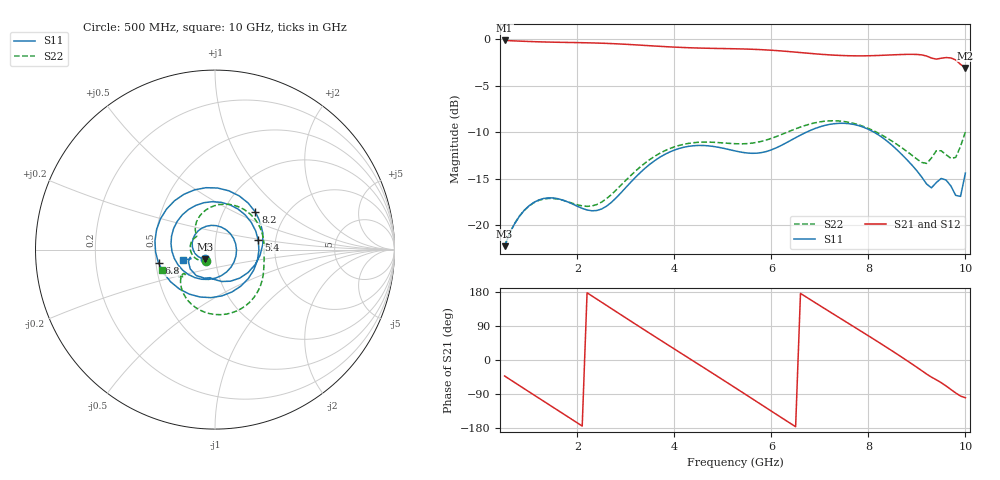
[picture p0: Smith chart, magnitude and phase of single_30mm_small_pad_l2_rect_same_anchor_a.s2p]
! Touchstone file exported from HFSS 3D Layout Design 2026.1.0
!  File:  D:/Work/ADS/HFSS_VERDICT/hfss_sma_connector_cpw.aedt
!  Generated:  03:23:28 PM Aug  5, 2026
!  Design:  SINGLE_END_SMA_CPW_30MM
!  Project:  hfss_sma_connector_cpw
! Variables:
!  $sma_Base_D = 6.25mm
!  $sma_Base_L = 8mm
!  $sma_Feet_L = 4mm
!  $sma_Feet_W = 1mm
!  $sma_Front_L = 1.5mm
!  $sma_Front_W = 6.5mm
!  $sma_Hole_D = 1.25mm
!  $sma_PTFE_D = 4.2mm
!  $sma_Pin_D = 0.95mm
!  $sma_Pin_P = 1.7mm
# GHz S MA R 50.000000
! Terminal data exported
! Port[1] = Port1
! Port[2] = S1_1_Pin_T1
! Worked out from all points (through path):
!   96 points, 500 MHz to 10 GHz, reference 50 ohm
!   highest |S21| = -0.11 dB at 500 MHz (marker M1); lowest = -3.1 dB at 10 GHz (marker M2)
!   group delay of S21, straight-line fit = 227 ps
!   lowest |S11| = -22.3 dB at 500 MHz (marker M3), VSWR 1.17, Z = 44.4 - j4.6 ohm
!   |S11| at or under -10 dB: start of sweep to 6.718 GHz; 8.118 GHz to end of sweep
!   |S22| runs from -22.2 to -8.8 dB; largest |S21 - S12| = 1.7e-14
!   S11 on the Smith chart (normalised r, x): 500 MHz: 0.89, -0.09; 5.4 GHz: 1.62, +0.18; 6.8 GHz: 0.52, -0.09; 8.2 GHz: 1.41, +0.65; 10 GHz: 0.69, -0.09
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0.5  0.0771 -138.0  0.9869 -42.2  0.9869 -42.2  0.07763 -128.1
1.2  0.1366 153.4  0.9705 -100.1  0.9705 -100.1  0.1358 -176.1
1.7  0.1365 98.7  0.9638 -141.3  0.9638 -141.3  0.1362 157.7
2.1  0.1232 45.8  0.9598 -174.3  0.9598 -174.3  0.127 146.0
2.5  0.1222 -16.6  0.9538 152.5  0.9538 152.5  0.1331 141.2
3  0.1596 -89.7  0.9409 111.0  0.9409 111.0  0.1744 128.3
3.7  0.2321 -167.9  0.9176 53.5  0.9176 53.5  0.2438 91.2
4.1  0.2588 152.8  0.9062 20.9  0.9062 20.9  0.2688 66.7
4.5  0.2686 113.4  0.8984 -11.6  0.8984 -11.6  0.2794 42.7
5.3  0.2494 24.8  0.8896 -77.0  0.8896 -77.0  0.2743 3.0
5.4  0.2466 12.2  0.8882 -85.3  0.8882 -85.3  0.2742 -0.9
5.8  0.2459 -41.1  0.8802 -118.4  0.8802 -118.4  0.2828 -15.2
6.2  0.2684 -94.6  0.8667 -151.4  0.8667 -151.4  0.307 -29.8
6.8  0.3234 -166.5  0.8405 159.6  0.8405 159.6  0.3505 -56.0
6.9  0.3314 -177.5  0.8363 151.5  0.8363 151.5  0.3557 -60.8
7.6  0.3518 108.7  0.8166 95.7  0.8166 95.7  0.3578 -95.0
8.2  0.3071 42.9  0.8193 47.7  0.8193 47.7  0.3134 -121.2
8.5  0.2675 6.1  0.8255 23.2  0.8255 23.2  0.282 -131.9
8.9  0.2103 -49.1  0.8309 -10.6  0.8309 -10.6  0.2377 -141.8
9.3  0.1588 -99.9  0.7935 -45.2  0.7935 -45.2  0.2297 -138.9
9.7  0.1627 -155.3  0.7947 -77.6  0.7947 -77.6  0.2291 -154.4
10  0.1908 -161.6  0.7019 -99.6  0.7019 -99.6  0.3178 -159.0
